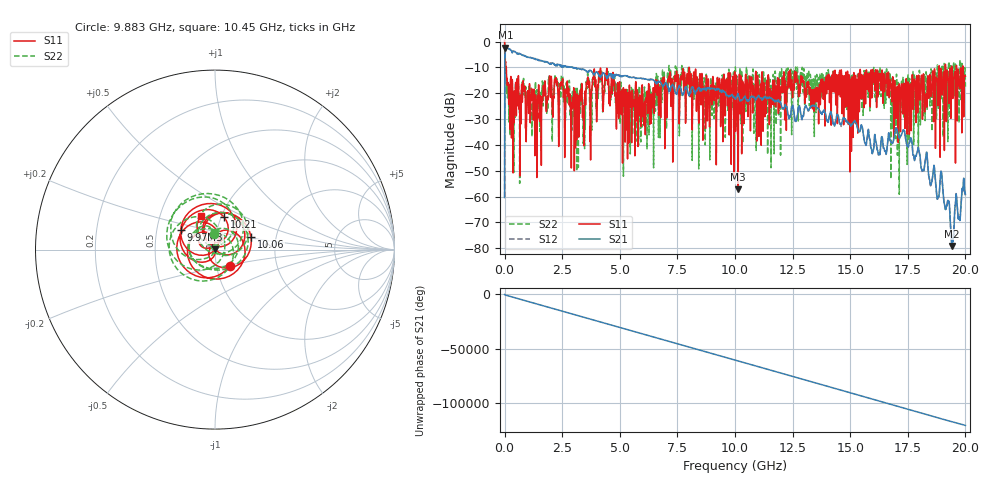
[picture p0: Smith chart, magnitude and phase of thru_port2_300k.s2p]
! MS46122B
! 2250307/22442219
! 2/13/2026 1:43:55 PM
! C:\USERS\SPARKY\DOCUMENTS\VNA_DATA\FEB13_2026\THRU_PORT2_300K.S2P
! CHANNEL.1
! TR.MEASUREMENT
! RAW.DATA
# GHZ S RI R 50.0
! FREQ.GHZ  S11RE  S11IM  S21RE  S21IM  S12RE  S12IM  S22RE  S22IM
!; PortSelection: Port_12
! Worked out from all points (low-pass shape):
!   10001 points, 1 MHz to 20 GHz, reference 50 ohm
!   highest |S21| = -2.34 dB at 33 MHz (marker M1); lowest = -79.1 dB at 19.42 GHz (marker M2)
!   |S21| within 3 dB of the highest: 19.11 MHz to 782.5 MHz (763.3 MHz wide, 190 % of centre); 801.3 MHz to 824.9 MHz (23.58 MHz wide, 2.9 % of centre) (the widest 2 of 3)
!   lowest |S11| = -57.2 dB at 10.14 GHz (marker M3), VSWR 1.00, Z = 50 + j0.134 ohm
!   |S11| at or under -10 dB: 73.5 MHz to 8.01 GHz (7.936 GHz wide, 196 % of centre); 8.015 GHz to 18.85 GHz (10.83 GHz wide, 80.6 % of centre); 19.62 GHz to 19.87 GHz (253.2 MHz wide, 1.28 % of centre) (the widest 3 of 8)
!   |S22| runs from -59.1 to -0.1 dB; largest |S21 - S12| = 0.056
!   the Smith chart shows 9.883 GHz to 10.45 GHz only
!   S11 on the Smith chart (normalised r, x): 9.883 GHz: 1.16, -0.21; 9.973 GHz: 0.67, +0.15; 10.06 GHz: 1.48, +0.22; 10.21 GHz: 1.03, +0.39; 10.45 GHz: 0.80, +0.31
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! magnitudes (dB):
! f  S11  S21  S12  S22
! 1 MHz  0.4  -60.4  -60.4  -0.1
! 33 MHz  -8.4  -2.3  -2.6  -11.9
! 125 MHz  -16.2  -2.6  -2.5  -21.5
! 1.327 GHz  -26.1  -6.7  -6.6  -18.7
! 2.219 GHz  -14.3  -9.4  -9.3  -14.9
! 3.335 GHz  -17.9  -10.8  -10.8  -16.5
! 4.141 GHz  -12.5  -13.3  -13.4  -13.7
! 5.219 GHz  -24.8  -13.2  -13.1  -24.0
! 6.669 GHz  -18.2  -15.6  -15.6  -22.5
! 9.883 GHz  -18.2  -20.8  -20.8  -21.0
! 9.973 GHz  -13.2  -21.7  -21.7  -33.0
! 10 GHz  -13.1  -22.0  -22.1  -10.6
! 10.06 GHz  -13.4  -21.4  -21.3  -18.0
! 10.14 GHz  -57.2  -20.5  -20.4  -17.0
! 10.21 GHz  -14.5  -22.8  -22.8  -11.6
! 10.45 GHz  -13.9  -21.5  -21.6  -20.0
! 13.33 GHz  -18.7  -25.0  -24.8  -15.2
! 16.67 GHz  -12.7  -35.4  -35.5  -13.1
! 17.31 GHz  -19.3  -34.3  -34.1  -14.1
! 18.96 GHz  -13.8  -50.7  -50.5  -16.1
! 19.42 GHz  -10.4  -79.1  -78.8  -14.8
! 20 GHz  -13.4  -59.1  -59.6  -17.5
